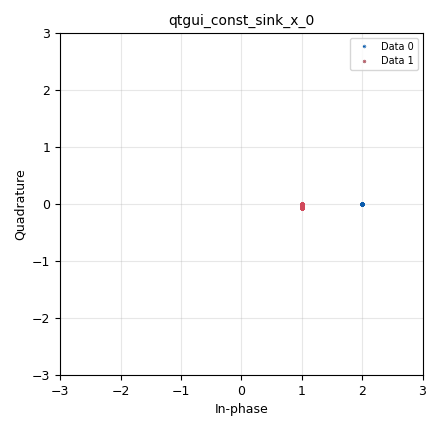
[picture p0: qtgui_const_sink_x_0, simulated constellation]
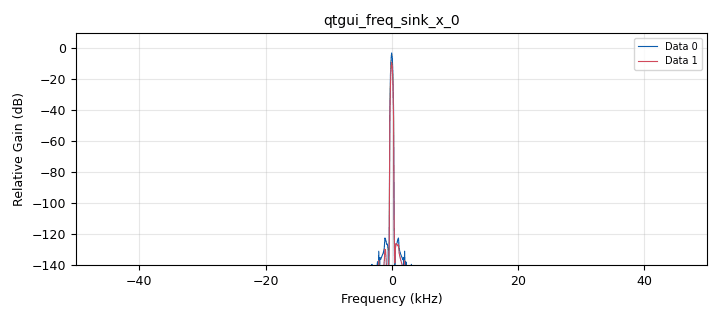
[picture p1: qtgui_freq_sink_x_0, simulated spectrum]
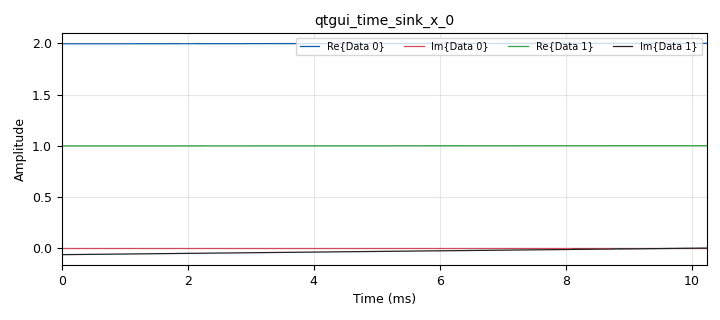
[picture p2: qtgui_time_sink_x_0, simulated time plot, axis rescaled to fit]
options:
  parameters:
    generate_options: qt_gui
    id: ComplexPlot
    output_language: python
    title: ComplexPlot
  states: {}

blocks:
- name: freq
  id: variable_qtgui_range
  parameters:
    start: '-100e3'
    step: '1'
    stop: 100e3
    value: '1'
  states: {}
- name: samp_rate
  id: variable
  parameters:
    value: 100e3
  states: {}
- name: analog_sig_source_x_0
  id: analog_sig_source_x
  parameters:
    amp: '1'
    freq: freq
    offset: '0'
    phase: '0'
    samp_rate: samp_rate
    type: complex
    waveform: analog.GR_COS_WAVE
  states: {}
- name: blocks_add_xx_0
  id: blocks_add_xx
  parameters:
    type: complex
  states: {}
- name: blocks_conjugate_cc_0
  id: blocks_conjugate_cc
  parameters: {}
  states: {}
- name: blocks_throttle2_0
  id: blocks_throttle2
  parameters:
    samples_per_second: samp_rate
    type: complex
  states: {}
- name: qtgui_const_sink_x_0
  id: qtgui_const_sink_x
  parameters:
    grid: 'True'
    nconnections: '2'
    size: '1024'
    type: complex
    xmax: '3'
    xmin: '-3'
    ymax: '3'
    ymin: '-3'
  states: {}
- name: qtgui_freq_sink_x_0
  id: qtgui_freq_sink_x
  parameters:
    bw: samp_rate
    ctrlpanel: 'True'
    fc: '0'
    fftsize: '1024'
    nconnections: '2'
    type: complex
  states: {}
- name: qtgui_time_sink_x_0
  id: qtgui_time_sink_x
  parameters:
    ctrlpanel: 'True'
    nconnections: '2'
    size: '1024'
    srate: samp_rate
    type: complex
  states: {}

connections:
- [analog_sig_source_x_0, '0', blocks_throttle2_0, '0']
- [blocks_add_xx_0, '0', qtgui_const_sink_x_0, '0']
- [blocks_add_xx_0, '0', qtgui_freq_sink_x_0, '0']
- [blocks_add_xx_0, '0', qtgui_time_sink_x_0, '0']
- [blocks_conjugate_cc_0, '0', blocks_add_xx_0, '0']
- [blocks_throttle2_0, '0', blocks_add_xx_0, '1']
- [blocks_throttle2_0, '0', blocks_conjugate_cc_0, '0']
- [blocks_throttle2_0, '0', qtgui_const_sink_x_0, '1']
- [blocks_throttle2_0, '0', qtgui_freq_sink_x_0, '1']
- [blocks_throttle2_0, '0', qtgui_time_sink_x_0, '1']

metadata:
  file_format: 1
  grc_version: 3.10.9.2
